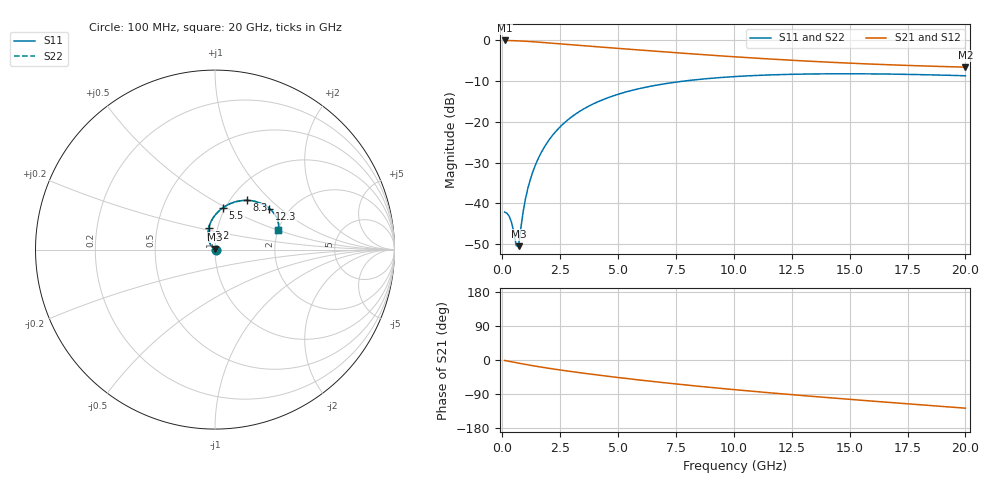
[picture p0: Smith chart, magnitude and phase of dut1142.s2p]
! Touchstone file exported from HFSS 2024.1.0
!  File:  C:/UserFiles/LocalFiles/RDL_TSV_Batchsim/temp_RDL_TSV_1142_1780114713.aedt
!  Generated:  12:32:52 PM May 30, 2026
!  Design:  RDL_TSV
!  Project:  temp_RDL_TSV_1142_1780114713
!  Setup:  Setup1
!  Solution:  Sweep
! Variables:
!  dtsv = 9.78um
!  hbump = 3um
!  htsv = 58.2um
!  ldown = 230.91um
!  lrdl = 268.83um
!  p = 40
!  p1 = 56.86um
!  rhole = 10um
!  subl = 1768.05um
!  t = 450um
!  tdown = 4.91um
!  trdl = 3.65um
!  viad = 10um
!  wdown = 18.22um
!  wrdl = 24.89um
!  xbump = 18um
# GHz S MA R 50.000000
! Terminal data exported
! Port[1] = TM1_1_T1
! Port[2] = TM1_4_T1
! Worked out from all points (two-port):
!   200 points, 100 MHz to 20 GHz, reference 50 ohm
!   highest |S21| = -0.07 dB at 100 MHz (marker M1); lowest = -6.6 dB at 20 GHz (marker M2)
!   |S21| within 3 dB of the highest: start of sweep to 7.484 GHz
!   lowest |S11| = -50.5 dB at 700 MHz (marker M3), VSWR 1.01, Z = 50 + j0.298 ohm
!   |S11| at or under -10 dB: start of sweep to 7.892 GHz
!   |S22| runs from -50.5 to -8.2 dB; largest |S21 - S12| = 3.4e-14
!   S11 on the Smith chart (normalised r, x): 100 MHz: 1.02, +0.00; 3.2 GHz: 0.91, +0.22; 5.5 GHz: 0.98, +0.48; 8.3 GHz: 1.19, +0.73; 12.3 GHz: 1.59, +0.85; 20 GHz: 1.99, +0.49
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0.1  0.007793 3.0  0.9918 -1.2  0.9918 -1.2  0.007793 3.0
! Gamma 0 0 0 0
! Port Impedance 50 0 50 0
0.3  0.006904 6.7  0.9892 -3.6  0.9892 -3.6  0.006905 6.7
0.4  0.005817 10.0  0.9874 -4.8  0.9874 -4.8  0.005819 10.0
0.6  0.003025 42.2  0.9827 -7.1  0.9827 -7.1  0.003026 42.1
0.7  0.00298 90.0  0.9799 -8.3  0.9799 -8.3  0.002975 89.9
0.9  0.007871 131.1  0.9734 -10.5  0.9734 -10.5  0.007857 131.1
1  0.01129 135.1  0.9698 -11.6  0.9698 -11.6  0.01127 135.1
1.2  0.01915 136.4  0.9619 -13.8  0.9619 -13.8  0.01912 136.4
1.5  0.0328 133.2  0.9487 -16.9  0.9487 -16.9  0.03276 133.2
1.8  0.04802 128.4  0.9347 -19.9  0.9347 -19.9  0.04797 128.4
2.2  0.06981 121.7  0.9155 -23.7  0.9155 -23.7  0.06975 121.7
3.2  0.1262 106.0  0.8686 -32.3  0.8686 -32.3  0.1261 106.0
3.5  0.1426 101.8  0.8552 -34.8  0.8552 -34.8  0.1425 101.8
4.4  0.189 90.6  0.8169 -41.8  0.8169 -41.8  0.1889 90.6
5.5  0.2382 79.1  0.7733 -49.8  0.7733 -49.8  0.2381 79.1
6.8  0.2853 67.9  0.7256 -58.7  0.7256 -58.7  0.2851 67.9
8.3  0.326 57.3  0.6756 -68.2  0.6756 -68.2  0.3257 57.3
10.1  0.3586 47.0  0.6234 -78.7  0.6234 -78.7  0.3584 47.0
12.3  0.3803 37.0  0.5711 -90.5  0.5711 -90.5  0.38 37.0
13.4  0.3853 32.9  0.5493 -96.0  0.5493 -96.0  0.385 32.9
16.7  0.384 23.2  0.4992 -111.9  0.4992 -111.9  0.3837 23.2
20  0.3659 17.1  0.4669 -127.2  0.4669 -127.2  0.3656 17.1
